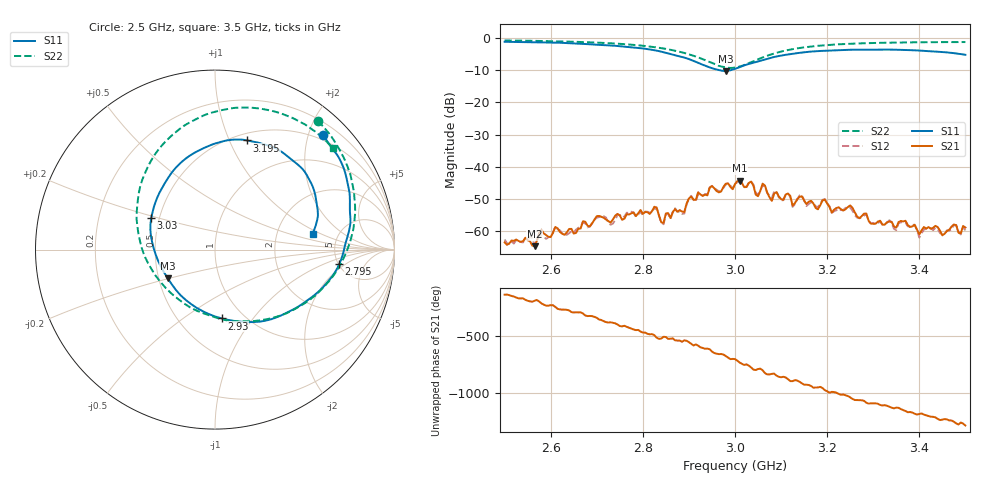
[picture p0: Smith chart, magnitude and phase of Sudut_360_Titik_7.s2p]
# Hz S RI R 50
! CMT, C1220, 16058040, 17.2.0/1
! Date: 15/08/2018 10:12:16
! Data: Format (Calibration Info)
! Freq  S11: Re/Im (F2)  S21: Re/Im (F2)  S12: Re/Im (F2)  S22: Re/Im (F2)
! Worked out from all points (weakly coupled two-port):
!   201 points, 2.5 GHz to 3.5 GHz, reference 50 ohm
!   highest |S21| = -44.28 dB at 3.01 GHz (marker M1); lowest = -64.6 dB at 2.565 GHz (marker M2)
!   lowest |S11| = -10.2 dB at 2.98 GHz (marker M3), VSWR 1.89, Z = 27.9 - j9.93 ohm
!   |S11| at or under -10 dB: 2.967 GHz to 2.99 GHz (22.63 MHz wide, 0.76 % of centre)
!   |S22| runs from -9.3 to -0.7 dB; largest |S21 - S12| = 0.00047
!   S11 on the Smith chart (normalised r, x): 2.5 GHz: 0.41, +2.25; 2.795 GHz: 5.05, -1.62; 2.93 GHz: 0.79, -0.71; 3.03 GHz: 0.45, +0.19; 3.195 GHz: 0.57, +1.16; 3.5 GHz: 3.23, +0.80
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2.5e9  0.5995 0.6372  -0.000553 -0.000386  -0.000622 -0.00042  0.5727 0.7167
2.565e9  0.6693 0.5439  -0.00056 0.000184  -0.000546 0.000267  0.6458 0.6338
2.58e9  0.6867 0.5179  -0.000805 0.000692  -0.000605 0.000625  0.6613 0.6105
2.65e9  0.7402 0.3652  0.000465 0.000801  0.000307 0.000909  0.7282 0.4873
2.67e9  0.7492 0.3177  0.000881 0.00113  0.000927 0.00101  0.7454 0.4433
2.795e9  0.6916 -0.0823  -0.000559 -0.00207  -0.000502 -0.00194  0.7621 0.0777
2.835e9  0.5847 -0.2271  -0.00173 -0.000333  -0.00173 -0.000371  0.7025 -0.0764
2.845e9  0.5422 -0.2627  -0.00119 -0.000663  -0.00114 -0.000607  0.6781 -0.1179
2.93e9  0.0373 -0.3834  -0.00135 0.00329  -0.00155 0.00321  0.2574 -0.3934
2.98e9  -0.2626 -0.1609  0.00413 0.00362  0.00389 0.00362  -0.1374 -0.3226
3e9  -0.332 -0.0235  0.00522 0.00143  0.00529 0.00119  -0.2749 -0.2133
3.01e9  -0.3508 0.0438  0.00592 -0.00152  0.00567 -0.0014  -0.3314 -0.1449
3.03e9  -0.3557 0.1747  0.0042 -0.00376  0.00431 -0.00374  -0.4085 0.00971
3.06e9  -0.2921 0.3486  0.000749 -0.00544  0.000427 -0.00524  -0.4329 0.2479
3.08e9  -0.2303 0.4424  -0.00116 -0.00274  -0.00129 -0.00305  -0.4048 0.39
3.17e9  0.0992 0.6124  -0.00165 0.00216  -0.00183 0.00205  -0.0763 0.7413
3.195e9  0.1788 0.6079  -0.000828 0.00299  -0.000685 0.0031  0.0169 0.7722
3.21e9  0.2236 0.5992  -1.77e-05 0.00196  0.0002 0.00192  0.0718 0.7837
3.335e9  0.4929 0.4425  0.0011 -0.0009  0.00115 -0.000946  0.4082 0.7432
3.39e9  0.5493 0.3382  -0.000209 -0.00124  -0.000268 -0.00124  0.5098 0.6919
3.4e9  0.5553 0.3182  -0.000192 -0.000876  -0.00029 -0.000746  0.5255 0.6803
3.5e9  0.5433 0.0868  -0.00107 0.00042  -0.000951 0.000401  0.6572 0.5642
